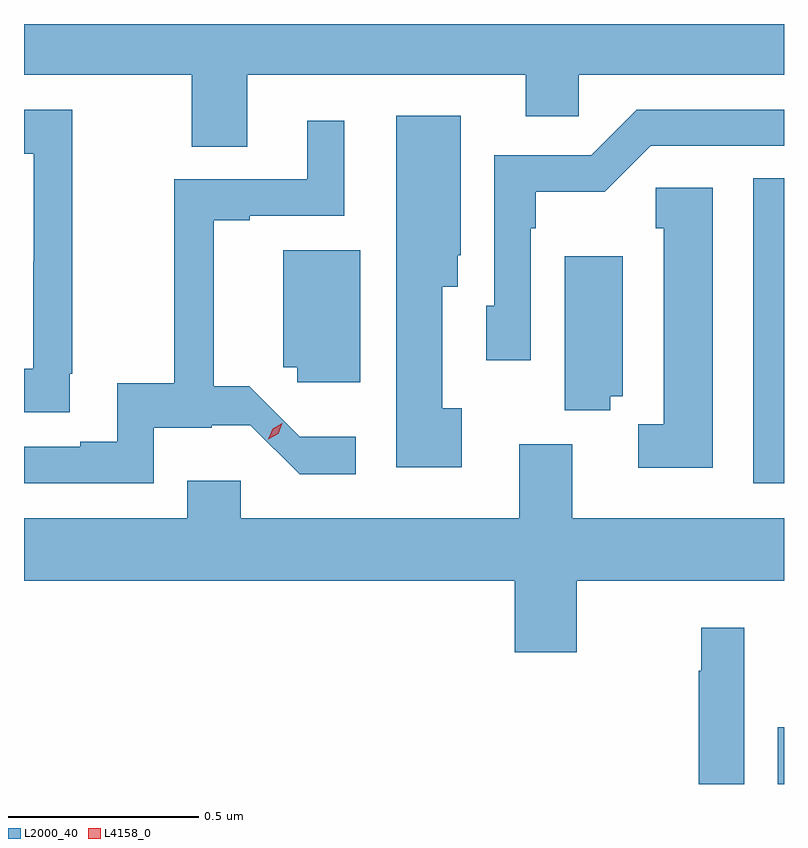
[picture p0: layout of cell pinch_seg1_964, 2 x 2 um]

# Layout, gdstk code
import gdstk
lib = gdstk.Library(unit=1e-6, precision=1e-09)
def R(c, l, rs):  # rectangles x0, y0, x1, y1
    for r in rs: c.add(gdstk.rectangle(r[:2], r[2:], *l))
def P(c, l, *ps):  # polygons
    for p in ps: c.add(gdstk.Polygon(p, *l))
L2000_40 = (2000, 40)
L4158_0 = (4158, 0)

pinch_seg1_964 = lib.new_cell('pinch_seg1_964')
R(pinch_seg1_964, L2000_40, [(117.749,517.897,117.765,518.047), (117.684,518.688,117.765,519.491)])
P(pinch_seg1_964, L2000_40, [(116.353,519.764),(117.086,519.764),(117.086,519.654),(117.225,519.654),(117.225,519.764),(117.765,519.764),(117.765,519.897),(115.765,519.897),(115.765,519.764),(116.206,519.764),(116.206,519.574),(116.353,519.574)],
  [(115.886,518.977),(115.892,518.977),(115.892,519.672),(115.765,519.672),(115.765,519.556),(115.79,519.556),(115.79,519.273),(115.789,519.273),(115.789,518.99),(115.765,518.99),(115.765,518.875),(115.886,518.875)],
  [(117.099,519.359),(117.112,519.359),(117.112,519.455),(117.293,519.455),(117.414,519.576),(117.765,519.576),(117.765,519.672),(117.378,519.672),(117.258,519.552),(117.003,519.552),(117.003,519.156),(116.982,519.156),(116.982,519.012),(117.099,519.012)],
  [(116.917,518.886),(116.866,518.886),(116.866,519.206),(116.907,519.206),(116.907,519.288),(116.914,519.288),(116.914,519.655),(116.744,519.655),(116.744,518.73),(116.917,518.73)],
  [(116.106,518.834),(116.259,518.834),(116.259,518.841),(116.36,518.841),(116.49,518.712),(116.638,518.712),(116.638,518.811),(116.49,518.811),(116.358,518.944),(116.264,518.944),(116.264,519.381),(116.359,519.381),(116.359,519.393),(116.608,519.393),(116.608,519.643),(116.51,519.643),(116.51,519.489),(116.161,519.489),(116.161,518.951),(116.01,518.951),(116.01,518.798),(115.913,518.798),(115.913,518.784),(115.765,518.784),(115.765,518.688),(116.106,518.688)],
  [(117.577,519.466),(117.427,519.466),(117.427,519.36),(117.449,519.36),(117.449,518.844),(117.381,518.844),(117.381,518.729),(117.577,518.729)],
  [(116.65,519.301),(116.447,519.301),(116.447,518.994),(116.484,518.994),(116.484,518.954),(116.65,518.954)],
  [(117.308,518.918),(117.34,518.918),(117.34,519.286),(117.188,519.286),(117.188,518.881),(117.308,518.881)],
  [(117.22,518.432),(117.765,518.432),(117.765,518.596),(117.208,518.596),(117.208,518.791),(117.068,518.791),(117.068,518.596),(116.335,518.596),(116.335,518.695),(116.195,518.695),(116.195,518.596),(115.765,518.596),(115.765,518.432),(117.056,518.432),(117.056,518.244),(117.22,518.244)],
  [(117.661,518.308),(117.547,518.308),(117.547,518.195),(117.54,518.195),(117.54,517.897),(117.661,517.897)])
P(pinch_seg1_964, L4158_0, [(116.408,518.804),(116.408,518.804),(116.419,518.832),(116.444,518.847),(116.445,518.847),(116.445,518.847),(116.434,518.819),(116.408,518.804)])

lib.write_gds('pinch_seg1_964.gds')
